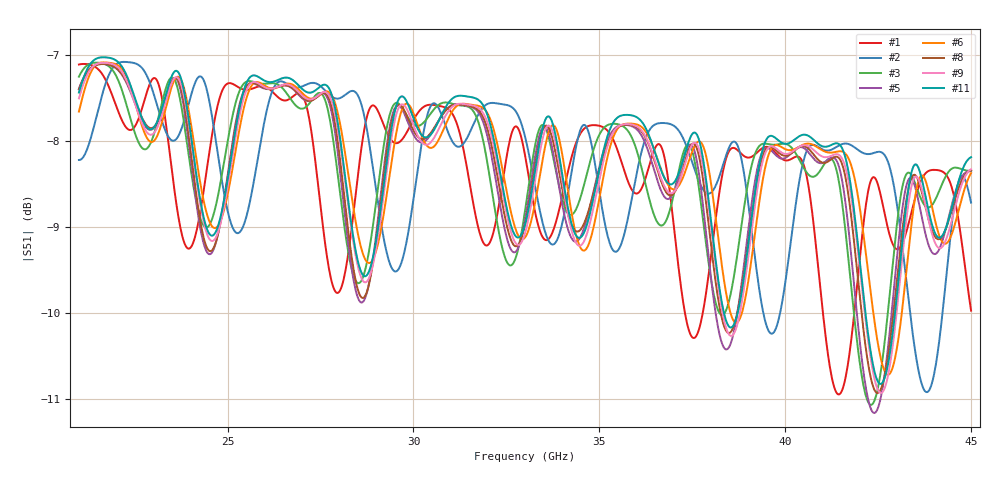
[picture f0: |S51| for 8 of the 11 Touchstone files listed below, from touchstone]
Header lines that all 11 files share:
# hz S ma R 50
! 5 Port Network Data from SP1.SP block
! freq  magS11  angS11  magS12  angS12  magS13  angS13  magS14  angS14
!  magS15  angS15
!  magS21  angS21  magS22  angS22  magS23  angS23
!  magS24  angS24  magS25  angS25
!  magS31  angS31  magS32  angS32
!  magS33  angS33  magS34  angS34  magS35  angS35
!  magS41  angS41
!  magS42  angS42  magS43  angS43  magS44  angS44  magS45  angS45
!  magS51  angS51  magS52  angS52  magS53  angS53  magS54  angS54
!  magS55  angS55
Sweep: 21 GHz to 45 GHz
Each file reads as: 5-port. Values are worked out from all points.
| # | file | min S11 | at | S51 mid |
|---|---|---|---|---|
| 1 | parameter-er_split_1.s5p | -46.4 dB | 30.48 GHz | -8.2 dB at 33 GHz |
| 2 | parameter-er_split_2.s5p | -56.9 dB | 41.65 GHz | -7.9 dB at 33 GHz |
| 3 | parameter-lineL_split_1.s5p | -41.8 dB | 40.02 GHz | -8.8 dB at 33 GHz |
| 4 | parameter-lineL_split_2.s5p | -55.1 dB | 31.65 GHz | -8.9 dB at 33 GHz |
| 5 | parameter-lineW_split_1.s5p | -43.0 dB | 40.42 GHz | -8.9 dB at 33 GHz |
| 6 | parameter-lineW_split_2.s5p | -44.2 dB | 25.77 GHz | -9.1 dB at 33 GHz |
| 7 | parameter-subH_split_1.s5p | -51.0 dB | 27.68 GHz | -9.1 dB at 33 GHz |
| 8 | parameter-subH_split_2.s5p | -36.9 dB | 40.5 GHz | -9.0 dB at 33 GHz |
| 9 | parameter-subH_split_3.s5p | -38.5 dB | 31.27 GHz | -9.1 dB at 33 GHz |
| 10 | parameter-tand_split_1.s5p | -37.9 dB | 21.77 GHz | -9.2 dB at 33 GHz |
| 11 | parameter-tand_split_2.s5p | -39.1 dB | 31.27 GHz | -9.0 dB at 33 GHz |
